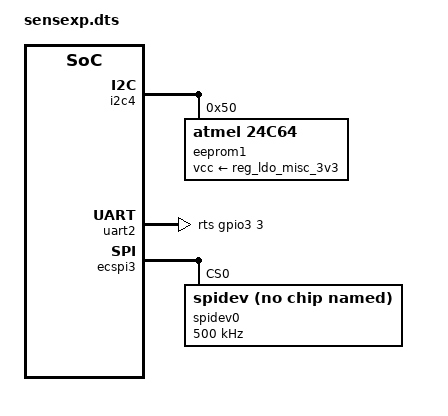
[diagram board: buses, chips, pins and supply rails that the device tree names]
/dts-v1/;
/plugin/;

&i2c4 {
        eeprom1: eeprom@50 {
                compatible = "atmel,24c64";
                reg = <0x50>;
                pagesize = <32>;
                vcc-supply = <&reg_ldo_misc_3v3>;
        };
};
/* Maxlinear SP483 RS-485 transceiver */
&uart2 {
	pinctrl-names = "default";
	pinctrl-0 = <&pinctrl_uart2>;
	rts-gpios = <&gpio3 3 0>;
	linux,rs485-enabled-at-boot-time;
	status = "okay";
};
&ecspi3 {

        spidev0: spidev@0{
            compatible = "spidev";
            reg = <0>;      /* CE0 */
            #address-cells = <1>;
            #size-cells = <0>;
            spi-max-frequency = <500000>;
    };
};
